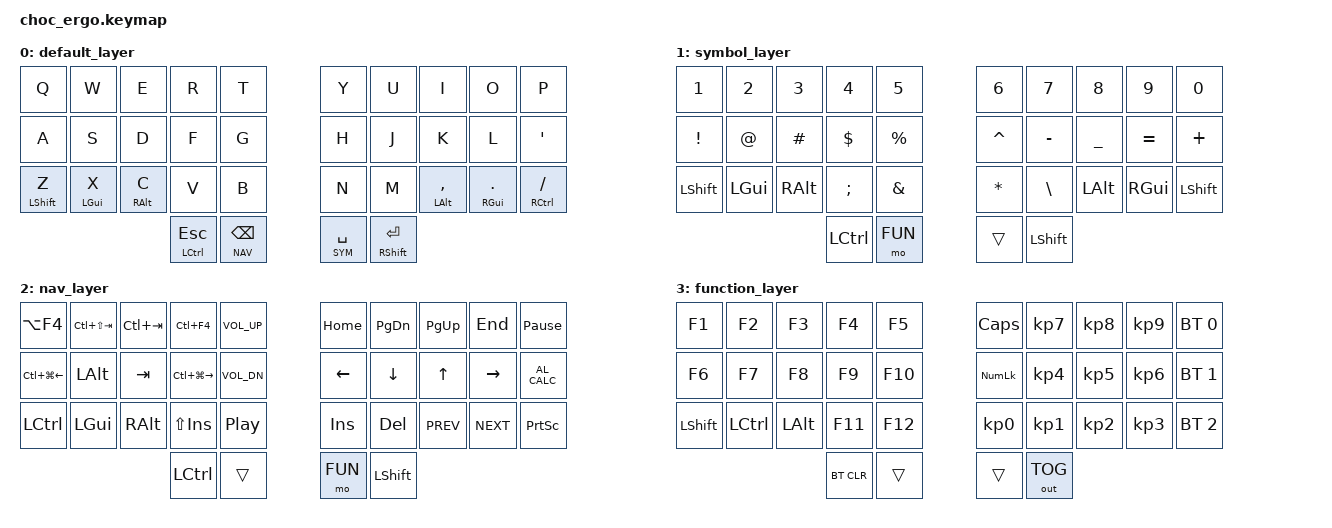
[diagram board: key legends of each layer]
/*
 * Copyright (c) 2021 The ZMK Contributors
 *
 * SPDX-License-Identifier: MIT
 */

#include <behaviors.dtsi>
#include <dt-bindings/zmk/keys.h>
#include <dt-bindings/zmk/bt.h>
#include <dt-bindings/zmk/outputs.h>

#define DEF 0
#define SYM 1
#define NAV 2
#define FUN 3

#define DESK_LT LC(LG(LEFT))
#define DESK_RT LC(LG(RIGHT))
#define TAB_RT  LC(TAB)
#define TAB_LT  LC(LS(TAB))

#define COMBO_TIMEOUT 60

&kscan0 {
    debounce-period = <20>;
};

&mt {
    flavor = "balanced";
    tapping-term-ms = <150>;
};

&lt {
    flavor = "balanced";
    tapping-term-ms = <150>;
    // retro-tap;
};

/ {
    behaviors {
        am: alpha_mods {
            compatible = "zmk,behavior-hold-tap";
            label = "alpha mod-taps";
            #binding-cells = <2>;
            tapping-term-ms = <200>;
            flavor = "tap-preferred";
            bindings = <&kp>, <&kp>;
        };
    };

    combos {
        compatible = "zmk,combos";
        combo_grave {
            timeout-ms = <COMBO_TIMEOUT>;
            key-positions = <0 1>;
            bindings = <&kp GRAVE>;
            layers = <DEF>;
        };
        combo_semi {
            timeout-ms = <COMBO_TIMEOUT>;
            key-positions = <6 7>;
            bindings = <&kp SEMI>;
            layers = <DEF>;
        };
        combo_lpar {
            timeout-ms = <COMBO_TIMEOUT>;
            key-positions = <12 13>;
            bindings = <&kp LPAR>;
            layers = <DEF>;
        };
        combo_rpar {
            timeout-ms = <COMBO_TIMEOUT>;
            key-positions = <16 17>;
            bindings = <&kp RPAR>;
            layers = <DEF>;
        };
        combo_lbkt {
            timeout-ms = <COMBO_TIMEOUT>;
            key-positions = <11 12>;
            bindings = <&kp LBKT>;
            layers = <DEF>;
        };
        combo_rbkt {
            timeout-ms = <COMBO_TIMEOUT>;
            key-positions = <17 18>;
            bindings = <&kp RBKT>;
            layers = <DEF>;
        };
        combo_tab {
            timeout-ms = <COMBO_TIMEOUT>;
            key-positions = <11 13>;
            bindings = <&kp TAB>;
            layers = <DEF>;
        };
        combo_bspc {
            timeout-ms = <COMBO_TIMEOUT>;
            key-positions = <16 18>;
            bindings = <&kp BSPC>;
            layers = <DEF>;
        };
        combo_bslh {
            timeout-ms = <COMBO_TIMEOUT>;
            key-positions = <18 19>;
            bindings = <&kp BSLH>;
            layers = <DEF>;
        };
        combo_alttab {
            timeout-ms = <30>;
            key-positions = <11 12>;
            bindings = <&kp LA(TAB)>;
            layers = <NAV>;
        };
    };

    keymap {
        compatible = "zmk,keymap";

        default_layer {
            bindings = <
&kp Q       &kp W      &kp E         &kp R &kp T    &kp Y         &kp U &kp I          &kp O        &kp P
&kp A       &kp S      &kp D         &kp F &kp G    &kp H         &kp J &kp K          &kp L        &kp SQT
&am LSHFT Z &am LGUI X &am RALT C    &kp V &kp B    &kp N         &kp M &am LALT COMMA &am RGUI DOT &am RCTRL SLASH
                       &mt LCTRL ESC &lt NAV BSPC   &lt SYM SPACE &mt RSHFT RET
            >;
        };

        symbol_layer {
            bindings = <
&kp N1    &kp N2   &kp N3   &kp N4    &kp N5      &kp N6    &kp N7    &kp N8    &kp N9    &kp N0
&kp EXCL  &kp AT   &kp HASH &kp DLLR  &kp PRCNT   &kp CARET &kp MINUS &kp UNDER &kp EQUAL &kp PLUS
&kp LSHFT &kp LGUI &kp RALT &kp SEMI  &kp AMPS    &kp STAR  &kp BSLH  &kp LALT  &kp RGUI  &kp LSHFT
                            &kp LCTRL &mo FUN     &trans    &kp LSHFT
            >;
        };

        nav_layer {
            bindings = <
&kp LA(F4)  &kp TAB_LT &kp TAB_RT &kp LC(F4)  &kp C_VOL_UP   &kp HOME &kp PG_DN &kp PG_UP  &kp END    &kp PAUSE_BREAK
&kp DESK_LT &kp LALT   &kp TAB    &kp DESK_RT &kp C_VOL_DN   &kp LEFT &kp DOWN  &kp UP     &kp RIGHT  &kp C_AL_CALC
&kp LCTRL   &kp LGUI   &kp RALT   &kp LS(INS) &kp C_PP       &kp INS  &kp DEL   &kp C_PREV &kp C_NEXT &kp PSCRN
                                  &kp LCTRL   &trans         &mo FUN        &kp LSHFT
            >;
        };

        function_layer {
            bindings = <
&kp F1    &kp F2    &kp F3   &kp F4     &kp F5    &kp CAPS   &kp KP_N7 &kp KP_N8 &kp KP_N9 &bt BT_SEL 0
&kp F6    &kp F7    &kp F8   &kp F9     &kp F10   &kp KP_NUM &kp KP_N4 &kp KP_N5 &kp KP_N6 &bt BT_SEL 1
&kp LSHFT &kp LCTRL &kp LALT &kp F11    &kp F12   &kp KP_N0  &kp KP_N1 &kp KP_N2 &kp KP_N3 &bt BT_SEL 2
                             &bt BT_CLR &trans    &trans     &out OUT_TOG
            >;
        };
    };
};
